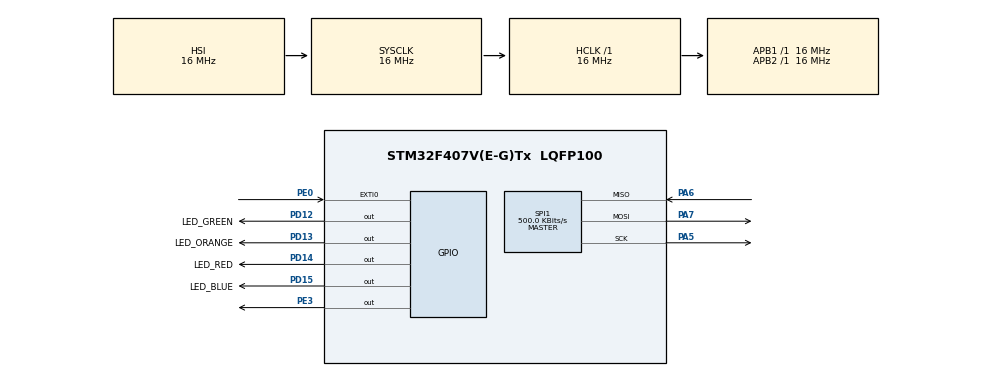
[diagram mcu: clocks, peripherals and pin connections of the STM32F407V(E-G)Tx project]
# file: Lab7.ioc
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Mcu.Family=STM32F4
Mcu.Name=STM32F407V(E-G)Tx
Mcu.Package=LQFP100
NVIC.EXTI0_IRQn=true\:0\:0\:false\:false\:true\:true\:true\:true
NVIC.PriorityGroup=NVIC_PRIORITYGROUP_4
PA5.Mode=Full_Duplex_Master
PA5.Signal=SPI1_SCK
PA6.Mode=Full_Duplex_Master
PA6.Signal=SPI1_MISO
PA7.Mode=Full_Duplex_Master
PA7.Signal=SPI1_MOSI
PD12.GPIO_Label=LED_GREEN
PD12.Signal=GPIO_Output
PD13.GPIO_Label=LED_ORANGE
PD13.Signal=GPIO_Output
PD14.GPIO_Label=LED_RED
PD14.Signal=GPIO_Output
PD15.GPIO_Label=LED_BLUE
PD15.Signal=GPIO_Output
PE0.Signal=GPXTI0
PE3.Signal=GPIO_Output
ProjectManager.HeapSize=0x200
ProjectManager.StackSize=0x400
ProjectManager.TargetToolchain=STM32CubeIDE
RCC.AHBFreq_Value=16000000
RCC.APB1Freq_Value=16000000
RCC.APB2Freq_Value=16000000
RCC.CortexFreq_Value=16000000
RCC.HSE_VALUE=25000000
RCC.HSI_VALUE=16000000
RCC.LSE_VALUE=32768
RCC.SYSCLKFreq_VALUE=16000000
RCC.VCOOutputFreq_Value=192000000
SPI1.BaudRatePrescaler=SPI_BAUDRATEPRESCALER_32
SPI1.CalculateBaudRate=500.0 KBits/s
SPI1.Direction=SPI_DIRECTION_2LINES
SPI1.Mode=SPI_MODE_MASTER
SPI1.VirtualType=VM_MASTER
board=custom

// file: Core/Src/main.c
/* USER CODE BEGIN Header */
/**
  ******************************************************************************
  * @file           : main.c
  * @brief          : Main program body
  ******************************************************************************
  * @attention
  *
  * Copyright (c) 2023 STMicroelectronics.
  * All rights reserved.
  *
  * This software is licensed under terms that can be found in the LICENSE file
  * in the root directory of this software component.
  * If no LICENSE file comes with this software, it is provided AS-IS.
  *
  ******************************************************************************
  */
/* USER CODE END Header */
#include "main.h"

/* USER CODE BEGIN Includes */
#include "MY_LIS3DSH.h"

/* USER CODE END Includes */

SPI_HandleTypeDef hspi1;

/* USER CODE BEGIN PV */
LIS3DSH_DataScaled myData;
uint8_t drdyFlag=0;
/* USER CODE END PV */

void SystemClock_Config(void);
static void MX_GPIO_Init(void);
static void MX_SPI1_Init(void);

/* USER CODE BEGIN 0 */
void HAL_GPIO_EXTI_Callback(uint16_t GPIO_Pin)
{
  /* Prevent unused argument(s) compilation warning */
  UNUSED(GPIO_Pin);
  /* NOTE: This function Should not be modified, when the callback is needed,
           the HAL_GPIO_EXTI_Callback could be implemented in the user file
   */

  drdyFlag = 1;
}

/* USER CODE END 0 */

int main(void)
{

  /* MCU Configuration--------------------------------------------------------*/

  /* Reset of all peripherals, Initializes the Flash interface and the Systick. */
  HAL_Init();

  /* Configure the system clock */
  SystemClock_Config();

  /* Initialize all configured peripherals */
  MX_GPIO_Init();
  MX_SPI1_Init();
  /* USER CODE BEGIN 2 */
  LIS3DSH_InitTypeDef myAccConfigDef;

    myAccConfigDef.dataRate = LIS3DSH_DATARATE_25;
    myAccConfigDef.fullScale = LIS3DSH_FULLSCALE_4;
    myAccConfigDef.antiAliasingBW = LIS3DSH_FILTER_BW_50;
    myAccConfigDef.enableAxes = LIS3DSH_XYZ_ENABLE;
    myAccConfigDef.interruptEnable = true;
    LIS3DSH_Init(&hspi1, &myAccConfigDef);

    LIS3DSH_X_calibrate(-1000.0, 980.0);
    LIS3DSH_Y_calibrate(-1020.0, 1040.0);
    LIS3DSH_Z_calibrate(-920.0, 1040.0);
  /* USER CODE END 2 */

  /* Infinite loop */
  /* USER CODE BEGIN WHILE */
  while (1)
  {
	  if(drdyFlag == 1)
	  	  {
	  		  myData = LIS3DSH_GetDataScaled();
	  		  drdyFlag = 0;
	  	  }
	  if(myData.x > 256){
		  HAL_GPIO_WritePin(LED_RED_GPIO_Port, LED_RED_Pin, GPIO_PIN_SET);
		  HAL_GPIO_WritePin(LED_GREEN_GPIO_Port, LED_GREEN_Pin, GPIO_PIN_RESET);
	  }
	  else if(myData.x < -256){
		  HAL_GPIO_WritePin(LED_GREEN_GPIO_Port, LED_GREEN_Pin, GPIO_PIN_SET);
		  HAL_GPIO_WritePin(LED_RED_GPIO_Port, LED_RED_Pin, GPIO_PIN_RESET);
	  } else {
		  HAL_GPIO_WritePin(LED_GREEN_GPIO_Port, LED_GREEN_Pin, GPIO_PIN_RESET);
		  HAL_GPIO_WritePin(LED_RED_GPIO_Port, LED_RED_Pin, GPIO_PIN_RESET);
	  }

	  if(myData.y > 256){
		  HAL_GPIO_WritePin(LED_ORANGE_GPIO_Port, LED_ORANGE_Pin, GPIO_PIN_SET);
		  HAL_GPIO_WritePin(LED_BLUE_GPIO_Port, LED_BLUE_Pin, GPIO_PIN_RESET);
	  }
	  else if(myData.y < -256){
		  HAL_GPIO_WritePin(LED_BLUE_GPIO_Port, LED_BLUE_Pin, GPIO_PIN_SET);
		  HAL_GPIO_WritePin(LED_ORANGE_GPIO_Port, LED_ORANGE_Pin, GPIO_PIN_RESET);
	  } else {
		  HAL_GPIO_WritePin(LED_ORANGE_GPIO_Port, LED_ORANGE_Pin, GPIO_PIN_RESET);
		  HAL_GPIO_WritePin(LED_BLUE_GPIO_Port, LED_BLUE_Pin, GPIO_PIN_RESET);
	  }

    /* USER CODE END WHILE */

  }
}

void SystemClock_Config(void)
{
  RCC_OscInitTypeDef RCC_OscInitStruct = {0};
  RCC_ClkInitTypeDef RCC_ClkInitStruct = {0};

  /** Configure the main internal regulator output voltage
  */
  __HAL_RCC_PWR_CLK_ENABLE();
  __HAL_PWR_VOLTAGESCALING_CONFIG(PWR_REGULATOR_VOLTAGE_SCALE1);

  /** Initializes the RCC Oscillators according to the specified parameters
  * in the RCC_OscInitTypeDef structure.
  */
  RCC_OscInitStruct.OscillatorType = RCC_OSCILLATORTYPE_HSI;
  RCC_OscInitStruct.HSIState = RCC_HSI_ON;
  RCC_OscInitStruct.HSICalibrationValue = RCC_HSICALIBRATION_DEFAULT;
  RCC_OscInitStruct.PLL.PLLState = RCC_PLL_NONE;
  if (HAL_RCC_OscConfig(&RCC_OscInitStruct) != HAL_OK)
  {
    Error_Handler();
  }

  /** Initializes the CPU, AHB and APB buses clocks
  */
  RCC_ClkInitStruct.ClockType = RCC_CLOCKTYPE_HCLK|RCC_CLOCKTYPE_SYSCLK
                              |RCC_CLOCKTYPE_PCLK1|RCC_CLOCKTYPE_PCLK2;
  RCC_ClkInitStruct.SYSCLKSource = RCC_SYSCLKSOURCE_HSI;
  RCC_ClkInitStruct.AHBCLKDivider = RCC_SYSCLK_DIV1;
  RCC_ClkInitStruct.APB1CLKDivider = RCC_HCLK_DIV1;
  RCC_ClkInitStruct.APB2CLKDivider = RCC_HCLK_DIV1;

  if (HAL_RCC_ClockConfig(&RCC_ClkInitStruct, FLASH_LATENCY_0) != HAL_OK)
  {
    Error_Handler();
  }
}

static void MX_SPI1_Init(void)
{

  /* SPI1 parameter configuration*/
  hspi1.Instance = SPI1;
  hspi1.Init.Mode = SPI_MODE_MASTER;
  hspi1.Init.Direction = SPI_DIRECTION_2LINES;
  hspi1.Init.DataSize = SPI_DATASIZE_8BIT;
  hspi1.Init.CLKPolarity = SPI_POLARITY_LOW;
  hspi1.Init.CLKPhase = SPI_PHASE_1EDGE;
  hspi1.Init.NSS = SPI_NSS_SOFT;
  hspi1.Init.BaudRatePrescaler = SPI_BAUDRATEPRESCALER_32;
  hspi1.Init.FirstBit = SPI_FIRSTBIT_MSB;
  hspi1.Init.TIMode = SPI_TIMODE_DISABLE;
  hspi1.Init.CRCCalculation = SPI_CRCCALCULATION_DISABLE;
  hspi1.Init.CRCPolynomial = 10;
  if (HAL_SPI_Init(&hspi1) != HAL_OK)
  {
    Error_Handler();
  }

}

static void MX_GPIO_Init(void)
{
  GPIO_InitTypeDef GPIO_InitStruct = {0};

  /* GPIO Ports Clock Enable */
  __HAL_RCC_GPIOE_CLK_ENABLE();
  __HAL_RCC_GPIOA_CLK_ENABLE();
  __HAL_RCC_GPIOD_CLK_ENABLE();

  /*Configure GPIO pin Output Level */
  HAL_GPIO_WritePin(GPIOE, GPIO_PIN_3, GPIO_PIN_RESET);

  /*Configure GPIO pin Output Level */
  HAL_GPIO_WritePin(GPIOD, LED_GREEN_Pin|LED_ORANGE_Pin|LED_RED_Pin|LED_BLUE_Pin, GPIO_PIN_RESET);

  /*Configure GPIO pin : PE3 */
  GPIO_InitStruct.Pin = GPIO_PIN_3;
  GPIO_InitStruct.Mode = GPIO_MODE_OUTPUT_PP;
  GPIO_InitStruct.Pull = GPIO_NOPULL;
  GPIO_InitStruct.Speed = GPIO_SPEED_FREQ_LOW;
  HAL_GPIO_Init(GPIOE, &GPIO_InitStruct);

  /*Configure GPIO pins : LED_GREEN_Pin LED_ORANGE_Pin LED_RED_Pin LED_BLUE_Pin */
  GPIO_InitStruct.Pin = LED_GREEN_Pin|LED_ORANGE_Pin|LED_RED_Pin|LED_BLUE_Pin;
  GPIO_InitStruct.Mode = GPIO_MODE_OUTPUT_PP;
  GPIO_InitStruct.Pull = GPIO_NOPULL;
  GPIO_InitStruct.Speed = GPIO_SPEED_FREQ_LOW;
  HAL_GPIO_Init(GPIOD, &GPIO_InitStruct);

  /*Configure GPIO pin : PE0 */
  GPIO_InitStruct.Pin = GPIO_PIN_0;
  GPIO_InitStruct.Mode = GPIO_MODE_IT_RISING;
  GPIO_InitStruct.Pull = GPIO_NOPULL;
  HAL_GPIO_Init(GPIOE, &GPIO_InitStruct);

  /* EXTI interrupt init*/
  HAL_NVIC_SetPriority(EXTI0_IRQn, 0, 0);
  HAL_NVIC_EnableIRQ(EXTI0_IRQn);

}

void Error_Handler(void)
{
  __disable_irq();
  while (1)
  {
  }
}
